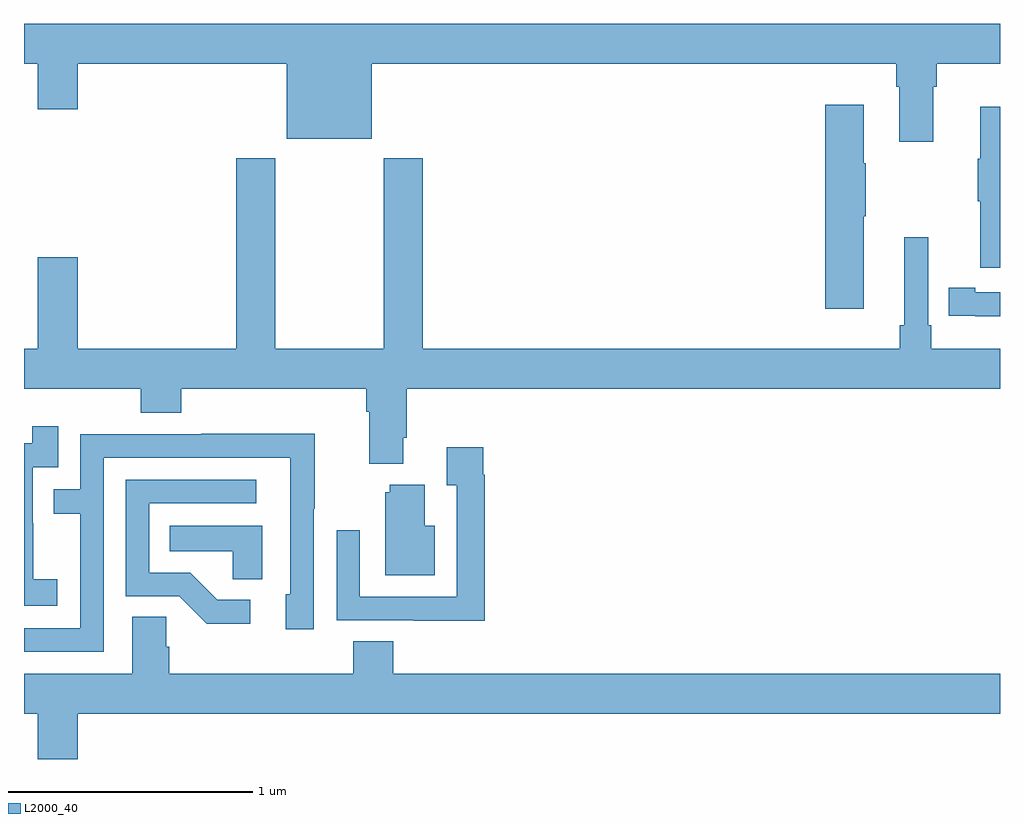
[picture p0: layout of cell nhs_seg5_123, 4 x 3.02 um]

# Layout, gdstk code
import gdstk
lib = gdstk.Library(unit=1e-6, precision=1e-09)
def P(c, l, *ps):  # polygons
    for p in ps: c.add(gdstk.Polygon(p, *l))
L2000_40 = (2000, 40)

nhs_seg5_123 = lib.new_cell('nhs_seg5_123')
P(nhs_seg5_123, L2000_40, [(120.727,877.976),(120.74,877.976),(120.74,878.072),(121,878.072),(121,878.236),(117,878.236),(117,878.072),(117.056,878.072),(117.056,877.884),(117.22,877.884),(117.22,878.072),(118.076,878.072),(118.076,877.763),(118.426,877.763),(118.426,878.072),(120.575,878.072),(120.575,877.976),(120.587,877.976),(120.587,877.752),(120.727,877.752)],
  [(120.442,877.447),(120.45,877.447),(120.45,877.664),(120.442,877.664),(120.442,877.903),(120.284,877.903),(120.284,877.068),(120.442,877.068)],
  [(121,877.894),(120.92,877.894),(120.92,877.681),(120.909,877.681),(120.909,877.507),(120.92,877.507),(120.92,877.236),(121,877.236)],
  [(118.555,876.538),(118.568,876.538),(118.568,876.74),(121,876.74),(121,876.904),(120.719,876.904),(120.719,877),(120.705,877),(120.705,877.36),(120.608,877.36),(120.608,877),(120.589,877),(120.589,876.904),(118.634,876.904),(118.634,877.684),(118.474,877.684),(118.474,876.904),(118.029,876.904),(118.029,877.684),(117.869,877.684),(117.869,876.904),(117.22,876.904),(117.22,877.279),(117.056,877.279),(117.056,876.904),(117,876.904),(117,876.74),(117.479,876.74),(117.479,876.641),(117.644,876.641),(117.644,876.74),(118.403,876.74),(118.403,876.644),(118.415,876.644),(118.415,876.431),(118.555,876.431)],
  [(121,877.134),(120.898,877.134),(120.898,877.154),(120.79,877.154),(120.79,877.038),(120.898,877.038),(120.898,877.037),(121,877.037)],
  [(117.136,875.959),(117.038,875.959),(117.038,876.188),(117.036,876.188),(117.036,876.417),(117.141,876.417),(117.141,876.586),(117.033,876.586),(117.033,876.516),(117,876.516),(117,875.849),(117.136,875.849)],
  [(117.327,876.456),(118.092,876.456),(118.092,875.898),(118.073,875.898),(118.073,875.754),(118.188,875.754),(118.188,876.247),(118.191,876.247),(118.191,876.554),(117.727,876.554),(117.727,876.552),(117.231,876.552),(117.231,876.327),(117.121,876.327),(117.121,876.226),(117.231,876.226),(117.231,875.757),(117,875.757),(117,875.661),(117.327,875.661)],
  [(118.889,876.386),(118.882,876.386),(118.882,876.499),(118.733,876.499),(118.733,876.343),(118.773,876.343),(118.773,875.886),(118.377,875.886),(118.377,876.16),(118.281,876.16),(118.281,875.79),(118.597,875.79),(118.597,875.789),(118.889,875.789)],
  [(117.928,875.874),(117.793,875.874),(117.682,875.985),(117.513,875.985),(117.513,876.27),(117.952,876.27),(117.952,876.366),(117.417,876.366),(117.417,875.889),(117.636,875.889),(117.749,875.777),(117.928,875.777)],
  [(118.684,876.178),(118.642,876.178),(118.642,876.346),(118.499,876.346),(118.499,876.315),(118.481,876.315),(118.481,875.975),(118.684,875.975)],
  [(117.976,876.178),(117.598,876.178),(117.598,876.074),(117.855,876.074),(117.855,875.959),(117.976,875.959)],
  [(117.22,875.408),(121,875.408),(121,875.572),(118.514,875.572),(118.514,875.705),(118.349,875.705),(118.349,875.572),(117.596,875.572),(117.596,875.681),(117.582,875.681),(117.582,875.804),(117.443,875.804),(117.443,875.572),(117,875.572),(117,875.408),(117.056,875.408),(117.056,875.22),(117.22,875.22)])

lib.write_gds('nhs_seg5_123.gds')
